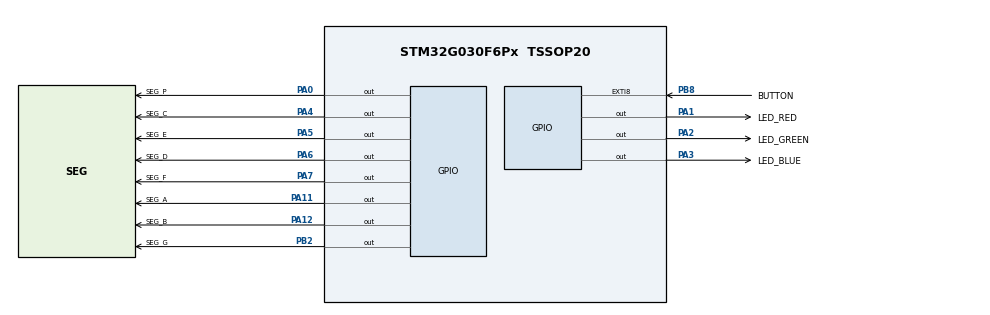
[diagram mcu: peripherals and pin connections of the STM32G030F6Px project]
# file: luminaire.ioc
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Mcu.Family=STM32G0
Mcu.Name=STM32G030F6Px
Mcu.Package=TSSOP20
NVIC.EXTI4_15_IRQn=true\:0\:0\:false\:false\:true\:true\:true\:true
NVIC.TIM3_IRQn=true\:1\:0\:true\:false\:true\:true\:true\:true
PA0.GPIO_Label=SEG_P
PA0.GPIO_ModeDefaultOutputPP=GPIO_MODE_OUTPUT_PP
PA0.GPIO_PuPd=GPIO_PULLDOWN
PA0.GPIO_Speed=GPIO_SPEED_FREQ_LOW
PA0.PinState=GPIO_PIN_RESET
PA0.Signal=GPIO_Output
PA1.GPIO_Label=LED_RED
PA1.GPIO_ModeDefaultOutputPP=GPIO_MODE_OUTPUT_PP
PA1.GPIO_PuPd=GPIO_PULLDOWN
PA1.GPIO_Speed=GPIO_SPEED_FREQ_LOW
PA1.PinState=GPIO_PIN_RESET
PA1.Signal=GPIO_Output
PA11\ [PA9].GPIO_Label=SEG_A
PA11\ [PA9].GPIO_ModeDefaultOutputPP=GPIO_MODE_OUTPUT_PP
PA11\ [PA9].GPIO_PuPd=GPIO_PULLDOWN
PA11\ [PA9].GPIO_Speed=GPIO_SPEED_FREQ_LOW
PA11\ [PA9].PinState=GPIO_PIN_RESET
PA11\ [PA9].Signal=GPIO_Output
PA12\ [PA10].GPIO_Label=SEG_B
PA12\ [PA10].GPIO_ModeDefaultOutputPP=GPIO_MODE_OUTPUT_PP
PA12\ [PA10].GPIO_PuPd=GPIO_PULLDOWN
PA12\ [PA10].GPIO_Speed=GPIO_SPEED_FREQ_LOW
PA12\ [PA10].PinState=GPIO_PIN_RESET
PA12\ [PA10].Signal=GPIO_Output
PA13.Mode=Serial_Wire
PA13.Signal=SYS_SWDIO
PA14-BOOT0.Mode=Serial_Wire
PA14-BOOT0.Signal=SYS_SWCLK
PA14-BOOT0__PA15.StandardMode=true
PA2.GPIO_Label=LED_GREEN
PA2.GPIO_ModeDefaultOutputPP=GPIO_MODE_OUTPUT_PP
PA2.GPIO_PuPd=GPIO_PULLDOWN
PA2.GPIO_Speed=GPIO_SPEED_FREQ_LOW
PA2.PinState=GPIO_PIN_RESET
PA2.Signal=GPIO_Output
PA3.GPIO_Label=LED_BLUE
PA3.GPIO_ModeDefaultOutputPP=GPIO_MODE_OUTPUT_PP
PA3.GPIO_PuPd=GPIO_PULLDOWN
PA3.GPIO_Speed=GPIO_SPEED_FREQ_LOW
PA3.PinState=GPIO_PIN_RESET
PA3.Signal=GPIO_Output
PA4.GPIO_Label=SEG_C
PA4.GPIO_ModeDefaultOutputPP=GPIO_MODE_OUTPUT_PP
PA4.GPIO_PuPd=GPIO_PULLDOWN
PA4.GPIO_Speed=GPIO_SPEED_FREQ_LOW
PA4.PinState=GPIO_PIN_RESET
PA4.Signal=GPIO_Output
PA5.GPIO_Label=SEG_E
PA5.GPIO_ModeDefaultOutputPP=GPIO_MODE_OUTPUT_PP
PA5.GPIO_PuPd=GPIO_PULLDOWN
PA5.GPIO_Speed=GPIO_SPEED_FREQ_LOW
PA5.PinState=GPIO_PIN_RESET
PA5.Signal=GPIO_Output
PA6.GPIO_Label=SEG_D
PA6.GPIO_ModeDefaultOutputPP=GPIO_MODE_OUTPUT_PP
PA6.GPIO_PuPd=GPIO_PULLDOWN
PA6.GPIO_Speed=GPIO_SPEED_FREQ_LOW
PA6.PinState=GPIO_PIN_RESET
PA6.Signal=GPIO_Output
PA7.GPIO_Label=SEG_F
PA7.GPIO_ModeDefaultOutputPP=GPIO_MODE_OUTPUT_PP
PA7.GPIO_PuPd=GPIO_PULLDOWN
PA7.GPIO_Speed=GPIO_SPEED_FREQ_LOW
PA7.PinState=GPIO_PIN_RESET
PA7.Signal=GPIO_Output
PB0__PB1__PB2__PA8.StandardMode=true
PB2.GPIO_Label=SEG_G
PB2.GPIO_ModeDefaultOutputPP=GPIO_MODE_OUTPUT_PP
PB2.GPIO_PuPd=GPIO_PULLDOWN
PB2.GPIO_Speed=GPIO_SPEED_FREQ_LOW
PB2.PinState=GPIO_PIN_RESET
PB2.Signal=GPIO_Output
PB3__PB4__PB5__PB6.StandardMode=true
PB7__PB8.StandardMode=true
PB8.GPIO_Label=BUTTON
PB8.GPIO_ModeDefaultEXTI=GPIO_MODE_IT_FALLING
PB8.GPIO_PuPd=GPIO_PULLUP
PB8.Signal=GPXTI8
PC14-OSC32_IN\ (PC14)__PB9.StandardMode=true
ProjectManager.HeapSize=0x200
ProjectManager.StackSize=0x400
ProjectManager.TargetToolchain=CMake
RCC.AHBFreq_Value=16000000
RCC.CortexFreq_Value=16000000
RCC.EXTERNAL_CLOCK_VALUE=12288000
RCC.HCLKFreq_Value=16000000
RCC.HSE_VALUE=8000000
RCC.HSI_VALUE=16000000
RCC.LSE_VALUE=32768
RCC.SYSCLKFreq_VALUE=16000000
RCC.VCOOutputFreq_Value=128000000
TIM3.Period=99
TIM3.Prescaler=15999
VP_TIM3_VS_ClockSourceINT.Mode=Internal
board=custom

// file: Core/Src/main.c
/* USER CODE BEGIN Header */
/**
 ******************************************************************************
 * @file           : main.c
 * @brief          : Main program body
 ******************************************************************************
 * @attention
 *
 * Copyright (c) 2025 STMicroelectronics.
 * All rights reserved.
 *
 * This software is licensed under terms that can be found in the LICENSE file
 * in the root directory of this software component.
 * If no LICENSE file comes with this software, it is provided AS-IS.
 *
 ******************************************************************************
 */
/* USER CODE END Header */
#include "main.h"

/* USER CODE BEGIN Includes */
#include <stdbool.h>
#include <stddef.h>

#include "leds.h"
#include "seven_segment.h"

/* USER CODE END Includes */

void SystemClock_Config(void);
static void MX_GPIO_Init(void);
static void MX_TIM3_Init(void);

/* USER CODE BEGIN 0 */

leds_t leds_state;

volatile bool button_clicked = false;
/* USER CODE END 0 */

int main(void) {

    /* MCU Configuration--------------------------------------------------------*/

    /* Reset of all peripherals, Initializes the Flash interface and the Systick. */
    LL_APB2_GRP1_EnableClock(LL_APB2_GRP1_PERIPH_SYSCFG);
    LL_APB1_GRP1_EnableClock(LL_APB1_GRP1_PERIPH_PWR);

    /* SysTick_IRQn interrupt configuration */
    NVIC_SetPriority(SysTick_IRQn, 3);

    /* Configure the system clock */
    SystemClock_Config();

    /* Initialize all configured peripherals */
    MX_GPIO_Init();
    MX_TIM3_Init();
    /* USER CODE BEGIN 2 */
    leds_pin_port_t leds_arr[LEDS_NUMS] = {
        {.port = LED_RED_GPIO_Port, .pin = LED_RED_Pin},
        {.port = LED_GREEN_GPIO_Port, .pin = LED_GREEN_Pin},
        {.port = LED_BLUE_GPIO_Port, .pin = LED_BLUE_Pin},
    };

    leds_init(&leds_state, leds_arr);
    /* USER CODE END 2 */

    /* Infinite loop */
    /* USER CODE BEGIN WHILE */
    // uint8_t counter = 0;

    seg_dot_disable();
    for (int i = 0; i < 2; i++) {
        LL_mDelay(500);
        seg_dot_toggle(SEG_DOT);
    }

    seg_set_digit(leds_get_current_mode(&leds_state));

    while (1) {
        if (button_clicked) {
            LL_mDelay(20);
            leds_next_mode(&leds_state);
            seg_set_digit(leds_get_current_mode(&leds_state));

            if (leds_get_func_isr(&leds_state) == NULL) {
                // Disable ISR
                LL_TIM_DisableCounter(TIM3);
            } else {
                // Emable ISR
                LL_TIM_EnableIT_UPDATE(TIM3);
                LL_TIM_EnableCounter(TIM3);
            }

            button_clicked = false;
        }
        /* USER CODE END WHILE */

    }
}

void SystemClock_Config(void) {
    /* HSI configuration and activation */
    LL_RCC_HSI_Enable();
    while (LL_RCC_HSI_IsReady() != 1) {}

    /* Set AHB prescaler*/
    LL_RCC_SetAHBPrescaler(LL_RCC_SYSCLK_DIV_1);

    /* Sysclk activation on the HSI */
    LL_RCC_SetSysClkSource(LL_RCC_SYS_CLKSOURCE_HSI);
    while (LL_RCC_GetSysClkSource() != LL_RCC_SYS_CLKSOURCE_STATUS_HSI) {}

    /* Set APB1 prescaler*/
    LL_RCC_SetAPB1Prescaler(LL_RCC_APB1_DIV_1);

    LL_Init1msTick(16000000);

    /* Update CMSIS variable (which can be updated also through SystemCoreClockUpdate function) */
    LL_SetSystemCoreClock(16000000);
}

static void MX_TIM3_Init(void) {

    LL_TIM_InitTypeDef TIM_InitStruct = {0};

    /* Peripheral clock enable */
    LL_APB1_GRP1_EnableClock(LL_APB1_GRP1_PERIPH_TIM3);

    /* TIM3 interrupt Init */
    NVIC_SetPriority(TIM3_IRQn, 1);
    NVIC_EnableIRQ(TIM3_IRQn);

    TIM_InitStruct.Prescaler = 15999;
    TIM_InitStruct.CounterMode = LL_TIM_COUNTERMODE_UP;
    TIM_InitStruct.Autoreload = 10;
    TIM_InitStruct.ClockDivision = LL_TIM_CLOCKDIVISION_DIV1;
    LL_TIM_Init(TIM3, &TIM_InitStruct);
    LL_TIM_DisableARRPreload(TIM3);
    LL_TIM_SetClockSource(TIM3, LL_TIM_CLOCKSOURCE_INTERNAL);
    LL_TIM_SetTriggerOutput(TIM3, LL_TIM_TRGO_RESET);
    LL_TIM_DisableMasterSlaveMode(TIM3);
}

static void MX_GPIO_Init(void) {
    LL_EXTI_InitTypeDef EXTI_InitStruct = {0};
    LL_GPIO_InitTypeDef GPIO_InitStruct = {0};

    /* GPIO Ports Clock Enable */
    LL_IOP_GRP1_EnableClock(LL_IOP_GRP1_PERIPH_GPIOB);
    LL_IOP_GRP1_EnableClock(LL_IOP_GRP1_PERIPH_GPIOA);

    /**/
    LL_GPIO_ResetOutputPin(SEG_P_GPIO_Port, SEG_P_Pin);

    /**/
    LL_GPIO_ResetOutputPin(LED_RED_GPIO_Port, LED_RED_Pin);

    /**/
    LL_GPIO_ResetOutputPin(LED_GREEN_GPIO_Port, LED_GREEN_Pin);

    /**/
    LL_GPIO_ResetOutputPin(LED_BLUE_GPIO_Port, LED_BLUE_Pin);

    /**/
    LL_GPIO_ResetOutputPin(SEG_C_GPIO_Port, SEG_C_Pin);

    /**/
    LL_GPIO_ResetOutputPin(SEG_E_GPIO_Port, SEG_E_Pin);

    /**/
    LL_GPIO_ResetOutputPin(SEG_D_GPIO_Port, SEG_D_Pin);

    /**/
    LL_GPIO_ResetOutputPin(SEG_F_GPIO_Port, SEG_F_Pin);

    /**/
    LL_GPIO_ResetOutputPin(SEG_G_GPIO_Port, SEG_G_Pin);

    /**/
    LL_GPIO_ResetOutputPin(SEG_A_GPIO_Port, SEG_A_Pin);

    /**/
    LL_GPIO_ResetOutputPin(SEG_B_GPIO_Port, SEG_B_Pin);

    /**/
    LL_EXTI_SetEXTISource(LL_EXTI_CONFIG_PORTB, LL_EXTI_CONFIG_LINE8);

    /**/
    EXTI_InitStruct.Line_0_31 = LL_EXTI_LINE_8;
    EXTI_InitStruct.LineCommand = ENABLE;
    EXTI_InitStruct.Mode = LL_EXTI_MODE_IT;
    EXTI_InitStruct.Trigger = LL_EXTI_TRIGGER_FALLING;
    LL_EXTI_Init(&EXTI_InitStruct);

    /**/
    LL_GPIO_SetPinPull(BUTTON_GPIO_Port, BUTTON_Pin, LL_GPIO_PULL_UP);

    /**/
    LL_GPIO_SetPinMode(BUTTON_GPIO_Port, BUTTON_Pin, LL_GPIO_MODE_INPUT);

    /**/
    GPIO_InitStruct.Pin = SEG_P_Pin;
    GPIO_InitStruct.Mode = LL_GPIO_MODE_OUTPUT;
    GPIO_InitStruct.Speed = LL_GPIO_SPEED_FREQ_LOW;
    GPIO_InitStruct.OutputType = LL_GPIO_OUTPUT_PUSHPULL;
    GPIO_InitStruct.Pull = LL_GPIO_PULL_DOWN;
    LL_GPIO_Init(SEG_P_GPIO_Port, &GPIO_InitStruct);

    /**/
    GPIO_InitStruct.Pin = LED_RED_Pin;
    GPIO_InitStruct.Mode = LL_GPIO_MODE_OUTPUT;
    GPIO_InitStruct.Speed = LL_GPIO_SPEED_FREQ_LOW;
    GPIO_InitStruct.OutputType = LL_GPIO_OUTPUT_PUSHPULL;
    GPIO_InitStruct.Pull = LL_GPIO_PULL_DOWN;
    LL_GPIO_Init(LED_RED_GPIO_Port, &GPIO_InitStruct);

    /**/
    GPIO_InitStruct.Pin = LED_GREEN_Pin;
    GPIO_InitStruct.Mode = LL_GPIO_MODE_OUTPUT;
    GPIO_InitStruct.Speed = LL_GPIO_SPEED_FREQ_LOW;
    GPIO_InitStruct.OutputType = LL_GPIO_OUTPUT_PUSHPULL;
    GPIO_InitStruct.Pull = LL_GPIO_PULL_DOWN;
    LL_GPIO_Init(LED_GREEN_GPIO_Port, &GPIO_InitStruct);

    /**/
    GPIO_InitStruct.Pin = LED_BLUE_Pin;
    GPIO_InitStruct.Mode = LL_GPIO_MODE_OUTPUT;
    GPIO_InitStruct.Speed = LL_GPIO_SPEED_FREQ_LOW;
    GPIO_InitStruct.OutputType = LL_GPIO_OUTPUT_PUSHPULL;
    GPIO_InitStruct.Pull = LL_GPIO_PULL_DOWN;
    LL_GPIO_Init(LED_BLUE_GPIO_Port, &GPIO_InitStruct);

    /**/
    GPIO_InitStruct.Pin = SEG_C_Pin;
    GPIO_InitStruct.Mode = LL_GPIO_MODE_OUTPUT;
    GPIO_InitStruct.Speed = LL_GPIO_SPEED_FREQ_LOW;
    GPIO_InitStruct.OutputType = LL_GPIO_OUTPUT_PUSHPULL;
    GPIO_InitStruct.Pull = LL_GPIO_PULL_DOWN;
    LL_GPIO_Init(SEG_C_GPIO_Port, &GPIO_InitStruct);

    /**/
    GPIO_InitStruct.Pin = SEG_E_Pin;
    GPIO_InitStruct.Mode = LL_GPIO_MODE_OUTPUT;
    GPIO_InitStruct.Speed = LL_GPIO_SPEED_FREQ_LOW;
    GPIO_InitStruct.OutputType = LL_GPIO_OUTPUT_PUSHPULL;
    GPIO_InitStruct.Pull = LL_GPIO_PULL_DOWN;
    LL_GPIO_Init(SEG_E_GPIO_Port, &GPIO_InitStruct);

    /**/
    GPIO_InitStruct.Pin = SEG_D_Pin;
    GPIO_InitStruct.Mode = LL_GPIO_MODE_OUTPUT;
    GPIO_InitStruct.Speed = LL_GPIO_SPEED_FREQ_LOW;
    GPIO_InitStruct.OutputType = LL_GPIO_OUTPUT_PUSHPULL;
    GPIO_InitStruct.Pull = LL_GPIO_PULL_DOWN;
    LL_GPIO_Init(SEG_D_GPIO_Port, &GPIO_InitStruct);

    /**/
    GPIO_InitStruct.Pin = SEG_F_Pin;
    GPIO_InitStruct.Mode = LL_GPIO_MODE_OUTPUT;
    GPIO_InitStruct.Speed = LL_GPIO_SPEED_FREQ_LOW;
    GPIO_InitStruct.OutputType = LL_GPIO_OUTPUT_PUSHPULL;
    GPIO_InitStruct.Pull = LL_GPIO_PULL_DOWN;
    LL_GPIO_Init(SEG_F_GPIO_Port, &GPIO_InitStruct);

    /**/
    GPIO_InitStruct.Pin = SEG_G_Pin;
    GPIO_InitStruct.Mode = LL_GPIO_MODE_OUTPUT;
    GPIO_InitStruct.Speed = LL_GPIO_SPEED_FREQ_LOW;
    GPIO_InitStruct.OutputType = LL_GPIO_OUTPUT_PUSHPULL;
    GPIO_InitStruct.Pull = LL_GPIO_PULL_DOWN;
    LL_GPIO_Init(SEG_G_GPIO_Port, &GPIO_InitStruct);

    /**/
    GPIO_InitStruct.Pin = SEG_A_Pin;
    GPIO_InitStruct.Mode = LL_GPIO_MODE_OUTPUT;
    GPIO_InitStruct.Speed = LL_GPIO_SPEED_FREQ_LOW;
    GPIO_InitStruct.OutputType = LL_GPIO_OUTPUT_PUSHPULL;
    GPIO_InitStruct.Pull = LL_GPIO_PULL_DOWN;
    LL_GPIO_Init(SEG_A_GPIO_Port, &GPIO_InitStruct);

    /**/
    GPIO_InitStruct.Pin = SEG_B_Pin;
    GPIO_InitStruct.Mode = LL_GPIO_MODE_OUTPUT;
    GPIO_InitStruct.Speed = LL_GPIO_SPEED_FREQ_LOW;
    GPIO_InitStruct.OutputType = LL_GPIO_OUTPUT_PUSHPULL;
    GPIO_InitStruct.Pull = LL_GPIO_PULL_DOWN;
    LL_GPIO_Init(SEG_B_GPIO_Port, &GPIO_InitStruct);

    /* EXTI interrupt init*/
    NVIC_SetPriority(EXTI4_15_IRQn, 0);
    NVIC_EnableIRQ(EXTI4_15_IRQn);

    /* USER CODE BEGIN MX_GPIO_Init_2 */
    // NVIC_DisableIRQ(EXTI4_15_IRQn);

    /* USER CODE END MX_GPIO_Init_2 */
}

void Error_Handler(void) {
    __disable_irq();
    while (1) {}
}
